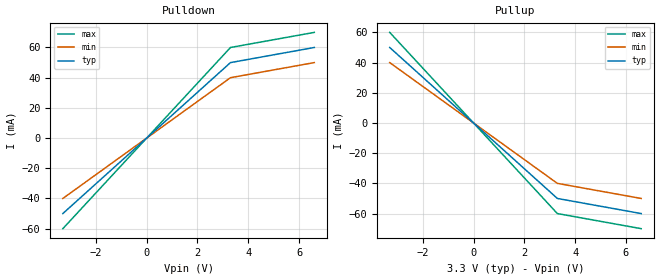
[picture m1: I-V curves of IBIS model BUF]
[IBIS Ver]   3.2
[File Name]  driver.ibs
[File Rev]   1.0
[Date]   2026-11-17
[Source]   Written by hand for the island's simulator tests.
[Notes]   A minimal output buffer with symmetric drive.
[Disclaimer] None.
[Copyright]  CC0 1.0
[Component]  CC_BUF
[Manufacturer] Circuit Center
[Package]
| variable   typ   min   max
R_pkg   0.1   0.05   0.2
L_pkg   1nH   0.5nH   2nH
C_pkg   1pF   0.5pF   2pF
[Pin]  signal_name  model_name  R_pin  L_pin  C_pin
1   OUT   BUF
2   GND   GND
3   VCC   POWER
| Models and submodels in the file (1): BUF (Output)
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[Model]  BUF
Model_type  Output
C_comp  2pF  1pF  3pF
[Voltage Range]  3.3V  3.0V  3.6V
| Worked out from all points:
|   slope of the pulldown table from 0 to 0.495 V, typ, clamps not added: 66 ohm
|   slope of the pullup table from 0 to 0.495 V, typ, clamps not added: 66 ohm
[Pulldown]
| Voltage   I(typ)   I(min)   I(max)
-3.3V     -50mA      -40mA      -60mA
0V        0A         0A         0A
3.3V      50mA       40mA       60mA
6.6V      60mA       50mA       70mA
[Pullup]
| Voltage   I(typ)   I(min)   I(max)
-3.3V     50mA       40mA       60mA
0V        0A         0A         0A
3.3V      -50mA      -40mA      -60mA
6.6V      -60mA      -50mA      -70mA
[Ramp]
| variable  typ   min   max
dV/dt_r   1.0/0.5n   0.9/0.6n   1.1/0.4n
dV/dt_f   1.0/0.5n   0.9/0.6n   1.1/0.4n
